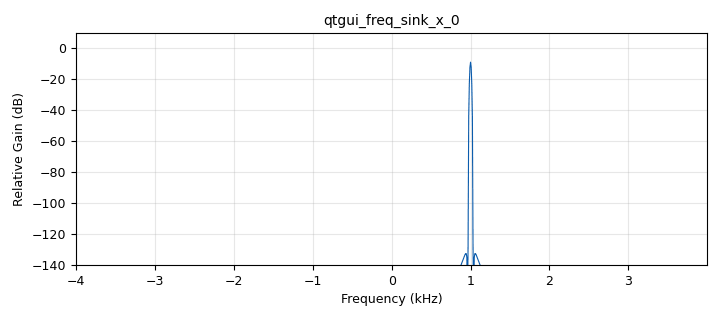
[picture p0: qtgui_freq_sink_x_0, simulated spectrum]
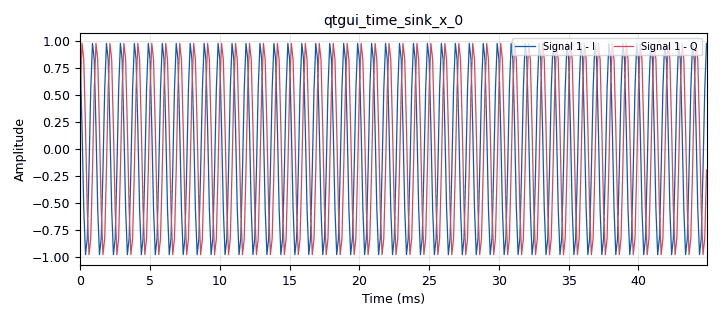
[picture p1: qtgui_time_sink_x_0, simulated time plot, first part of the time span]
options:
  parameters:
    generate_options: qt_gui
    id: ex1_05
    output_language: python
    title: Figure 1.10 Illustration of discrete-time sampled periodic spectrum
  states: {}

blocks:
- name: D
  id: variable
  parameters:
    comment: |-
      decimation
      factor
    value: '4'
  states: {}
- name: frequency
  id: variable_qtgui_range
  parameters:
    start: '0'
    step: '1'
    stop: samp_rate/2
    value: '1000'
  states: {}
- name: samp_rate
  id: variable
  parameters:
    value: '32000'
  states: {}
- name: analog_sig_source_x_0
  id: analog_sig_source_x
  parameters:
    amp: '1'
    freq: frequency
    offset: '0'
    phase: '0'
    samp_rate: samp_rate
    type: complex
    waveform: analog.GR_COS_WAVE
  states: {}
- name: blocks_keep_one_in_n_0
  id: blocks_keep_one_in_n
  parameters:
    comment: decimate by D
    n: D
    type: complex
  states: {}
- name: blocks_throttle2_0
  id: blocks_throttle2
  parameters:
    comment: slow down the scheduler
    samples_per_second: samp_rate
    type: complex
  states: {}
- name: qtgui_freq_sink_x_0
  id: qtgui_freq_sink_x
  parameters:
    bw: samp_rate/D
    comment: samp_rate/D
    fc: '0'
    fftsize: '1024'
    type: complex
  states: {}
- name: qtgui_time_sink_x_0
  id: qtgui_time_sink_x
  parameters:
    autoscale: 'True'
    comment: samp_rate/D
    label1: Signal 1 - I
    label2: Signal 1 - Q
    size: '1024'
    srate: samp_rate/D
    type: complex
  states: {}

connections:
- [analog_sig_source_x_0, '0', blocks_throttle2_0, '0']
- [blocks_keep_one_in_n_0, '0', qtgui_freq_sink_x_0, '0']
- [blocks_keep_one_in_n_0, '0', qtgui_time_sink_x_0, '0']
- [blocks_throttle2_0, '0', blocks_keep_one_in_n_0, '0']

metadata:
  file_format: 1
  grc_version: 3.10.9.2
